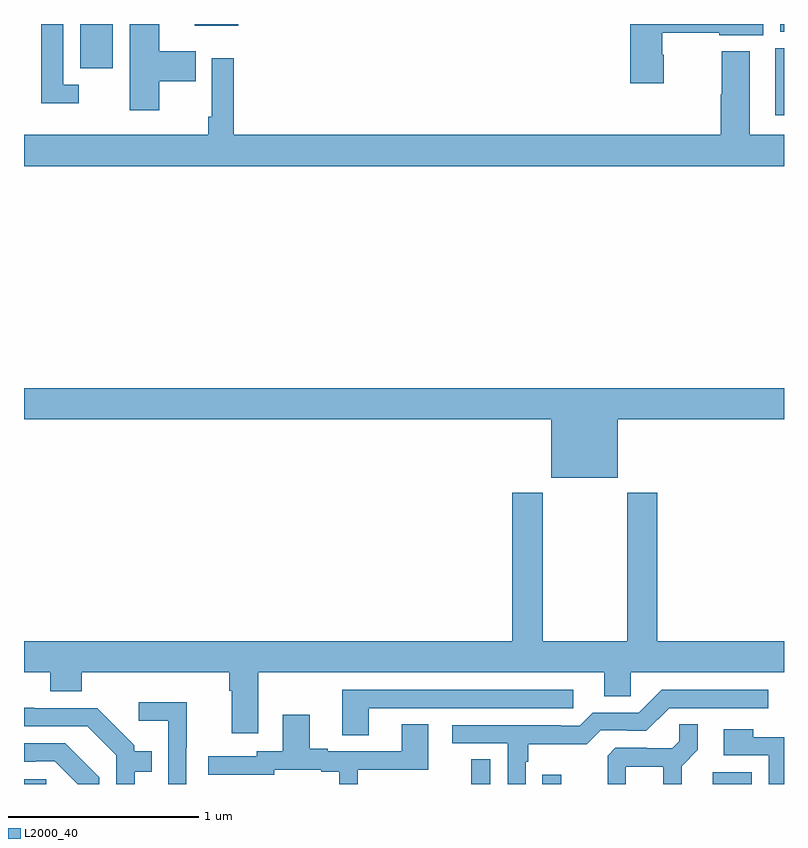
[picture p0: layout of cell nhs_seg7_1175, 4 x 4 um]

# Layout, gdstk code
import gdstk
lib = gdstk.Library(unit=1e-6, precision=1e-09)
def R(c, l, rs):  # rectangles x0, y0, x1, y1
    for r in rs: c.add(gdstk.rectangle(r[:2], r[2:], *l))
def P(c, l, *ps):  # polygons
    for p in ps: c.add(gdstk.Polygon(p, *l))
L2000_40 = (2000, 40)

nhs_seg7_1175 = lib.new_cell('nhs_seg7_1175')
R(nhs_seg7_1175, L2000_40, [(193,1028,193.117,1028.025), (195.355,1028,195.453,1028.129), (195.727,1028,195.828,1028.05), (196.625,1028,196.831,1028.062), (196.955,1031.52,197,1031.872), (193.295,1031.768,193.468,1032), (196.979,1031.96,197,1032), (193.898,1031.99,194.128,1032)])
P(nhs_seg7_1175, L2000_40, [(193.711,1031.699),(193.904,1031.699),(193.904,1031.857),(193.711,1031.857),(193.711,1032),(193.556,1032),(193.556,1031.547),(193.711,1031.547)],
  [(196.368,1031.838),(196.36,1031.838),(196.36,1031.953),(196.658,1031.953),(196.658,1031.942),(196.891,1031.942),(196.891,1032),(196.19,1032),(196.19,1031.688),(196.368,1031.688)],
  [(193.288,1031.679),(193.206,1031.679),(193.206,1032),(193.09,1032),(193.09,1031.582),(193.288,1031.582)],
  [(197,1031.416),(196.819,1031.416),(196.819,1031.857),(196.672,1031.857),(196.672,1031.631),(196.667,1031.631),(196.667,1031.416),(194.105,1031.416),(194.105,1031.821),(193.989,1031.821),(193.989,1031.512),(193.969,1031.512),(193.969,1031.416),(193,1031.416),(193,1031.252),(197,1031.252)],
  [(196.126,1029.92),(197,1029.92),(197,1030.084),(193,1030.084),(193,1029.92),(195.776,1029.92),(195.776,1029.611),(196.126,1029.611)],
  [(194.233,1028.588),(196.055,1028.588),(196.055,1028.461),(196.194,1028.461),(196.194,1028.588),(197,1028.588),(197,1028.752),(196.334,1028.752),(196.334,1029.532),(196.174,1029.532),(196.174,1028.752),(195.729,1028.752),(195.729,1029.532),(195.569,1029.532),(195.569,1028.752),(193,1028.752),(193,1028.588),(193.139,1028.588),(193.139,1028.489),(193.304,1028.489),(193.304,1028.588),(194.081,1028.588),(194.081,1028.492),(194.093,1028.492),(194.093,1028.268),(194.233,1028.268)],
  [(194.815,1028.4),(195.892,1028.4),(195.892,1028.496),(194.675,1028.496),(194.675,1028.257),(194.815,1028.257)],
  [(195.642,1028.117),(195.655,1028.117),(195.655,1028.21),(195.962,1028.21),(196.035,1028.283),(196.174,1028.283),(196.174,1028.28),(196.275,1028.28),(196.395,1028.4),(196.918,1028.4),(196.918,1028.496),(196.356,1028.496),(196.236,1028.376),(195.993,1028.376),(195.924,1028.307),(195.824,1028.307),(195.824,1028.31),(195.255,1028.31),(195.255,1028.214),(195.546,1028.214),(195.546,1028),(195.642,1028)],
  [(193.854,1028.192),(193.857,1028.192),(193.857,1028.431),(193.605,1028.431),(193.605,1028.333),(193.758,1028.333),(193.758,1028),(193.854,1028)],
  [(193.582,1028.064),(193.673,1028.064),(193.673,1028.173),(193.581,1028.173),(193.581,1028.205),(193.386,1028.4),(193.055,1028.4),(193.055,1028.402),(193,1028.402),(193,1028.304),(193.332,1028.304),(193.485,1028.151),(193.485,1028),(193.582,1028)],
  [(194.757,1028.076),(195.127,1028.076),(195.127,1028.315),(194.987,1028.315),(194.987,1028.172),(194.599,1028.172),(194.599,1028.185),(194.503,1028.185),(194.503,1028.365),(194.363,1028.365),(194.363,1028.172),(194.226,1028.172),(194.226,1028.145),(193.971,1028.145),(193.971,1028.049),(194.316,1028.049),(194.316,1028.076),(194.564,1028.076),(194.564,1028.064),(194.66,1028.064),(194.66,1028),(194.757,1028)],
  [(196.166,1028.09),(196.364,1028.09),(196.364,1028),(196.461,1028),(196.461,1028.093),(196.547,1028.179),(196.547,1028.315),(196.449,1028.315),(196.449,1028.224),(196.412,1028.187),(196.278,1028.187),(196.278,1028.19),(196.113,1028.19),(196.072,1028.149),(196.072,1028),(196.166,1028)],
  [(197,1028.247),(196.839,1028.247),(196.839,1028.287),(196.683,1028.287),(196.683,1028.151),(196.92,1028.151),(196.92,1028),(197,1028)],
  [(193.395,1028.035),(193.216,1028.214),(193,1028.214),(193,1028.118),(193.061,1028.118),(193.061,1028.121),(193.161,1028.121),(193.282,1028),(193.395,1028)])

lib.write_gds('nhs_seg7_1175.gds')
